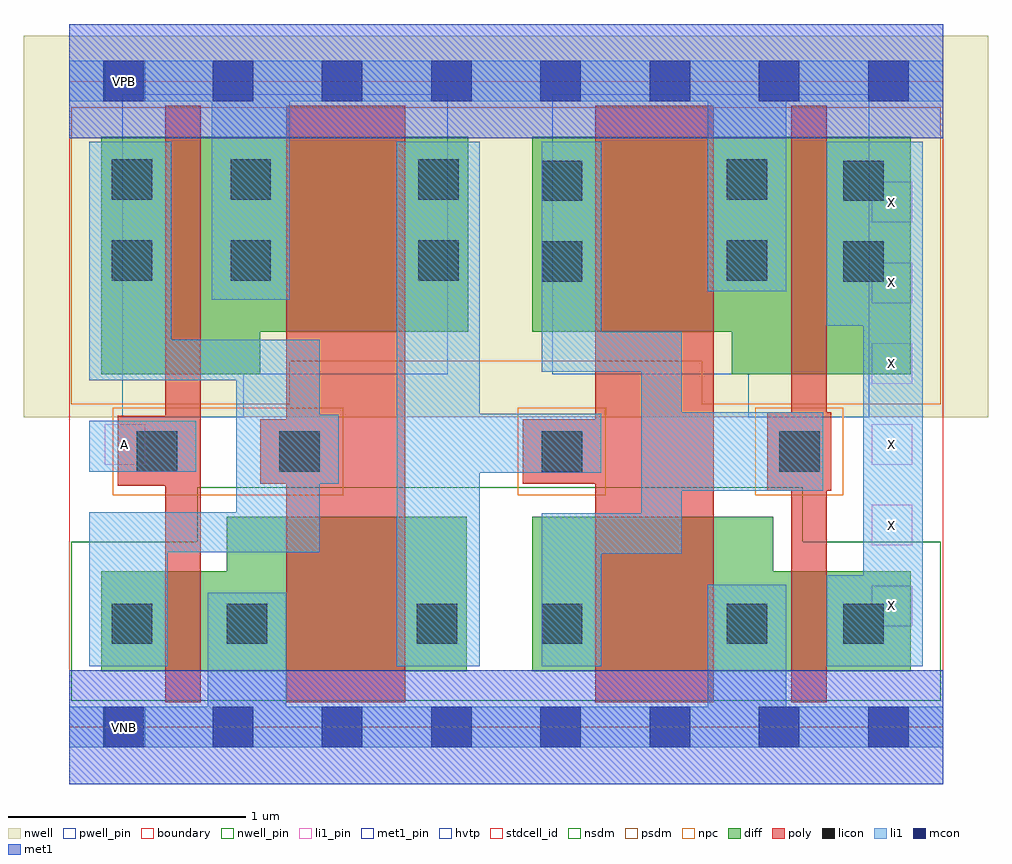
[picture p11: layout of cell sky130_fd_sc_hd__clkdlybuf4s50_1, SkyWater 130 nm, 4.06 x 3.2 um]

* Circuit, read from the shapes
.subckt sky130_fd_sc_hd__clkdlybuf4s50_1 A VGND VNB VPB VPWR X
XM1 VGND A n1 VNB sky130_fd_pr__nfet_01v8 w=0.42 l=0.15
XM2 n2 n1 VGND VNB sky130_fd_pr__nfet_01v8 w=0.65 l=0.5
XM3 VGND n2 n3 VNB sky130_fd_pr__nfet_01v8 w=0.65 l=0.5
XM4 X n3 VGND VNB sky130_fd_pr__nfet_01v8 w=0.42 l=0.15
XM5 VPWR A n1 VPB sky130_fd_pr__pfet_01v8_hvt w=1 l=0.15
XM6 n2 n1 VPWR VPB sky130_fd_pr__pfet_01v8_hvt w=0.82 l=0.5
XM7 VPWR n2 n3 VPB sky130_fd_pr__pfet_01v8_hvt w=0.82 l=0.5
XM8 X n3 VPWR VPB sky130_fd_pr__pfet_01v8_hvt w=1 l=0.15
.ends

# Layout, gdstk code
import gdstk
lib = gdstk.Library(unit=1e-6, precision=1e-09)
def R(c, l, rs):  # rectangles x0, y0, x1, y1
    for r in rs: c.add(gdstk.rectangle(r[:2], r[2:], *l))
def A(c, l, x, y, w, h, nx, ny, dx, dy):  # array of equal rectangles
    R(c, l, [(x+i*dx, y+j*dy, x+i*dx+w, y+j*dy+h) for i in range(nx) for j in range(ny)])
nwell_pin = (64, 16)
nwell = (64, 20)
diff = (65, 20)
poly = (66, 20)
licon = (66, 44)
li1_pin = (67, 16)
li1 = (67, 20)
mcon = (67, 44)
met1_pin = (68, 16)
met1 = (68, 20)
hvtp = (78, 44)
stdcell_id = (81, 4)
nsdm = (93, 44)
psdm = (94, 20)
npc = (95, 20)
pwell_pin = (122, 16)
boundary = (235, 4)

sky130_fd_sc_hd__clkdlyb = lib.new_cell('sky130_fd_sc_hd__clkdlybuf4s50_1')
R(sky130_fd_sc_hd__clkdlyb, nwell_pin, [(0.15,2.635,0.32,2.805)])
R(sky130_fd_sc_hd__clkdlyb, nwell, [(-0.19,1.305,3.87,2.91)])
R(sky130_fd_sc_hd__clkdlyb, diff, [(0.135,0.235,1.675,0.655), (1.95,0.235,3.545,0.655), (0.665,0.655,1.675,0.885), (1.95,0.655,2.965,0.885), (0.135,1.485,0.805,1.665), (2.79,1.485,3.545,1.665), (0.135,1.665,1.68,2.485), (1.95,1.665,3.545,2.485)])
R(sky130_fd_sc_hd__clkdlyb, poly, [(0.405,0.105,0.555,1.015), (0.915,0.105,1.415,1.025), (2.215,0.105,2.715,1.025), (3.04,0.105,3.19,0.995), (2.94,0.995,3.21,1.325), (0.205,1.015,0.555,1.31), (0.805,1.025,1.415,1.295), (1.91,1.025,2.715,1.295), (0.915,1.295,1.415,2.615), (2.215,1.295,2.715,2.615), (0.405,1.31,0.555,2.615), (3.04,1.325,3.19,2.615)])
R(sky130_fd_sc_hd__clkdlyb, licon, [(0.18,0.35,0.35,0.52), (0.665,0.35,0.835,0.52), (1.465,0.35,1.635,0.52), (1.99,0.35,2.16,0.52), (2.77,0.35,2.94,0.52), (3.26,0.35,3.43,0.52), (0.285,1.075,0.455,1.245), (0.885,1.075,1.055,1.245), (1.99,1.075,2.16,1.245), (2.99,1.075,3.16,1.245), (1.99,1.875,2.16,2.045), (3.26,1.875,3.43,2.045), (0.18,1.88,0.35,2.05), (0.68,1.88,0.85,2.05), (1.47,1.88,1.64,2.05), (2.77,1.88,2.94,2.05), (1.99,2.215,2.16,2.385), (3.26,2.215,3.43,2.385), (0.18,2.22,0.35,2.39), (0.68,2.22,0.85,2.39), (1.47,2.22,1.64,2.39), (2.77,2.22,2.94,2.39)])
A(sky130_fd_sc_hd__clkdlyb, li1_pin, 3.38, 0.425, 0.17, 0.17, 1, 6, 0, 0.34)
R(sky130_fd_sc_hd__clkdlyb, li1_pin, [(0.15,1.105,0.32,1.275)])
R(sky130_fd_sc_hd__clkdlyb, li1, [(0,-0.085,3.68,0.085), (0.585,0.085,0.915,0.565), (2.69,0.085,3.02,0.6), (0.085,0.255,0.415,0.735), (1.38,0.255,1.73,1.07), (1.99,0.255,2.24,0.73), (3.19,0.255,3.595,0.64), (3.345,0.64,3.595,1.69), (1.99,0.73,2.58,0.9), (0.085,0.735,1.055,0.905), (2.41,0.9,2.58,0.995), (0.705,0.905,1.055,1.025), (2.41,0.995,3.175,1.325), (0.705,1.025,1.135,1.315), (1.38,1.07,2.24,1.32), (0.085,1.075,0.535,1.29), (0.705,1.315,1.055,1.46), (1.38,1.32,1.73,2.465), (2.41,1.325,2.58,1.495), (0.085,1.46,1.055,1.63), (1.99,1.495,2.58,1.665), (0.085,1.63,0.43,2.465), (1.99,1.665,2.24,2.465), (3.19,1.69,3.595,2.465), (0.6,1.8,0.93,2.635), (2.69,1.835,3.02,2.635), (0,2.635,3.68,2.805)])
A(sky130_fd_sc_hd__clkdlyb, mcon, 0.145, -0.085, 0.17, 0.17, 8, 2, 0.46, 2.72)
R(sky130_fd_sc_hd__clkdlyb, met1_pin, [(0.15,-0.085,0.32,0.085), (0.15,2.635,0.32,2.805)])
R(sky130_fd_sc_hd__clkdlyb, met1, [(0,-0.24,3.68,0.24), (0,2.48,3.68,2.96)])
R(sky130_fd_sc_hd__clkdlyb, hvtp, [(0.225,1.305,0.735,1.485), (2.86,1.305,3.37,1.485), (0.225,1.485,1.595,2.665), (2.035,1.485,3.37,2.665)])
R(sky130_fd_sc_hd__clkdlyb, stdcell_id, [(0,0,3.68,2.72)])
R(sky130_fd_sc_hd__clkdlyb, nsdm, [(0.01,0.11,3.67,0.78), (0.54,0.78,3.09,1.01)])
R(sky130_fd_sc_hd__clkdlyb, psdm, [(0.01,1.36,0.93,1.54), (2.665,1.36,3.67,1.54), (0.01,1.54,3.67,2.61)])
R(sky130_fd_sc_hd__clkdlyb, npc, [(0.185,0.975,1.155,1.345), (1.89,0.975,2.26,1.345), (2.89,0.975,3.26,1.345)])
R(sky130_fd_sc_hd__clkdlyb, pwell_pin, [(0.15,-0.085,0.32,0.085)])
R(sky130_fd_sc_hd__clkdlyb, boundary, [(0,0,3.68,2.72)])
sky130_fd_sc_hd__clkdlyb.add(gdstk.Label('VNB', (0.235,0), layer=64, texttype=59))
sky130_fd_sc_hd__clkdlyb.add(gdstk.Label('VPB', (0.235,2.72), layer=64, texttype=5))
sky130_fd_sc_hd__clkdlyb.add(gdstk.Label('VGND', (0.235,0), layer=68, texttype=5))
sky130_fd_sc_hd__clkdlyb.add(gdstk.Label('VPWR', (0.235,2.72), layer=68, texttype=5))
sky130_fd_sc_hd__clkdlyb.add(gdstk.Label('A', (0.235,1.19), layer=67, texttype=5))
sky130_fd_sc_hd__clkdlyb.add(gdstk.Label('X', (3.465,0.51), layer=67, texttype=5))
sky130_fd_sc_hd__clkdlyb.add(gdstk.Label('X', (3.465,0.85), layer=67, texttype=5))
sky130_fd_sc_hd__clkdlyb.add(gdstk.Label('X', (3.465,1.19), layer=67, texttype=5))
sky130_fd_sc_hd__clkdlyb.add(gdstk.Label('X', (3.465,1.53), layer=67, texttype=5))
sky130_fd_sc_hd__clkdlyb.add(gdstk.Label('X', (3.465,1.87), layer=67, texttype=5))
sky130_fd_sc_hd__clkdlyb.add(gdstk.Label('X', (3.465,2.21), layer=67, texttype=5))

lib.write_gds('sky130_fd_sc_hd__clkdlybuf4s50_1.gds')
